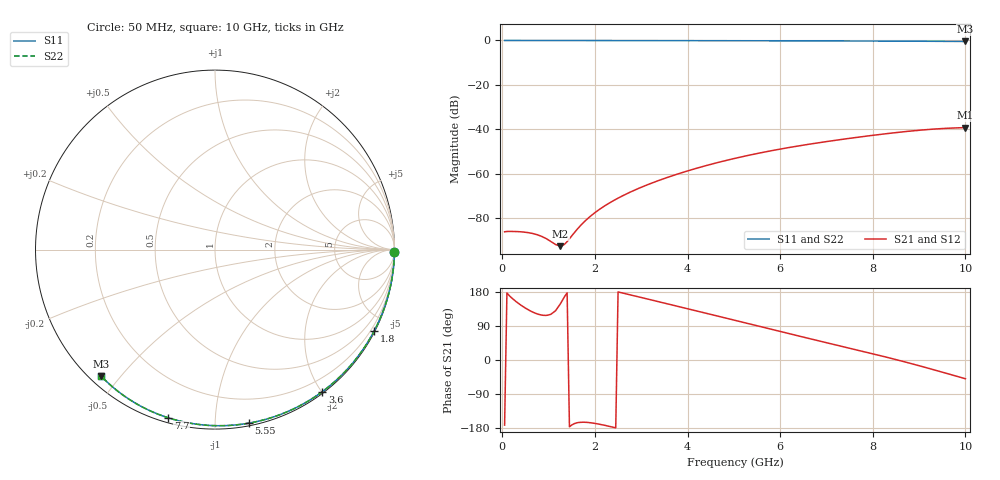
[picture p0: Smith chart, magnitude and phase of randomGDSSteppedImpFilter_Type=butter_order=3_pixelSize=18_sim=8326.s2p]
! freq	dB(S11)	phase(S11)	dB(S12)	phase(S12)
!  dB(S21)	phase(S21)	dB(S22)	phase(S22)
!S-par simulation data
#  GHz  S  DB  R 50
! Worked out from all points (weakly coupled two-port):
!   200 points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, 50 MHz to 10 GHz, reference 50 ohm
!   highest |S21| = -39.31 dB at 10 GHz (marker M1); lowest = -92.8 dB at 1.25 GHz (marker M2)
!   lowest |S11| = -0.5 dB at 10 GHz (marker M3), VSWR 37.77, Z = 1.59 - j22.3 ohm
!   |S11| at or under -10 dB: nowhere
!   |S22| runs from -0.5 to 0.0 dB; largest |S21 - S12| = 0
!   S11 on the Smith chart (normalised r, x): 50 MHz: open; 1.8 GHz: 0.04, -4.16; 3.6 GHz: 0.02, -2.01; 5.55 GHz: 0.02, -1.21; 7.7 GHz: 0.02, -0.76; 10 GHz: 0.03, -0.45
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0.05  -0.00 -0.8  -86.30 -171.8  -86.30 -171.8  -0.00 -0.8
0.65  -0.01 -9.9  -87.02 126.9  -87.02 126.9  -0.01 -9.9
1.25  -0.02 -18.9  -92.77 147.4  -92.77 147.4  -0.02 -18.9
1.75  -0.03 -26.3  -82.17 -164.1  -82.17 -164.1  -0.03 -26.3
1.8  -0.03 -27.1  -81.16 -164.3  -81.16 -164.3  -0.03 -27.0
1.85  -0.04 -27.8  -80.22 -164.8  -80.22 -164.8  -0.04 -27.8
2.05  -0.04 -30.7  -76.88 -168.4  -76.88 -168.4  -0.04 -30.7
2.2  -0.04 -32.9  -74.75 -172.0  -74.75 -172.0  -0.04 -32.9
2.35  -0.05 -35.1  -72.83 -176.1  -72.83 -176.1  -0.05 -35.1
2.55  -0.05 -38.0  -70.55 178.2  -70.55 178.2  -0.05 -38.0
2.95  -0.06 -43.7  -66.65 166.4  -66.65 166.4  -0.06 -43.7
3.4  -0.07 -50.1  -62.97 153.1  -62.97 153.1  -0.07 -50.1
3.6  -0.07 -52.9  -61.51 147.2  -61.51 147.2  -0.07 -52.9
4.3  -0.09 -62.5  -57.01 126.4  -57.01 126.4  -0.09 -62.5
5.05  -0.11 -72.5  -53.04 103.8  -53.04 103.8  -0.11 -72.5
5.55  -0.13 -79.0  -50.78 88.7  -50.78 88.7  -0.13 -79.0
6.1  -0.15 -86.0  -48.61 72.2  -48.61 72.2  -0.15 -86.0
6.7  -0.18 -93.4  -46.54 54.5  -46.54 54.5  -0.18 -93.4
7.7  -0.24 -105.4  -43.58 25.4  -43.58 25.4  -0.24 -105.4
8.35  -0.29 -113.1  -41.90 5.8  -41.90 5.8  -0.29 -113.1
9.25  -0.37 -123.4  -40.07 -23.5  -40.07 -23.5  -0.37 -123.4
10  -0.46 -131.8  -39.31 -49.5  -39.31 -49.5  -0.46 -131.8
